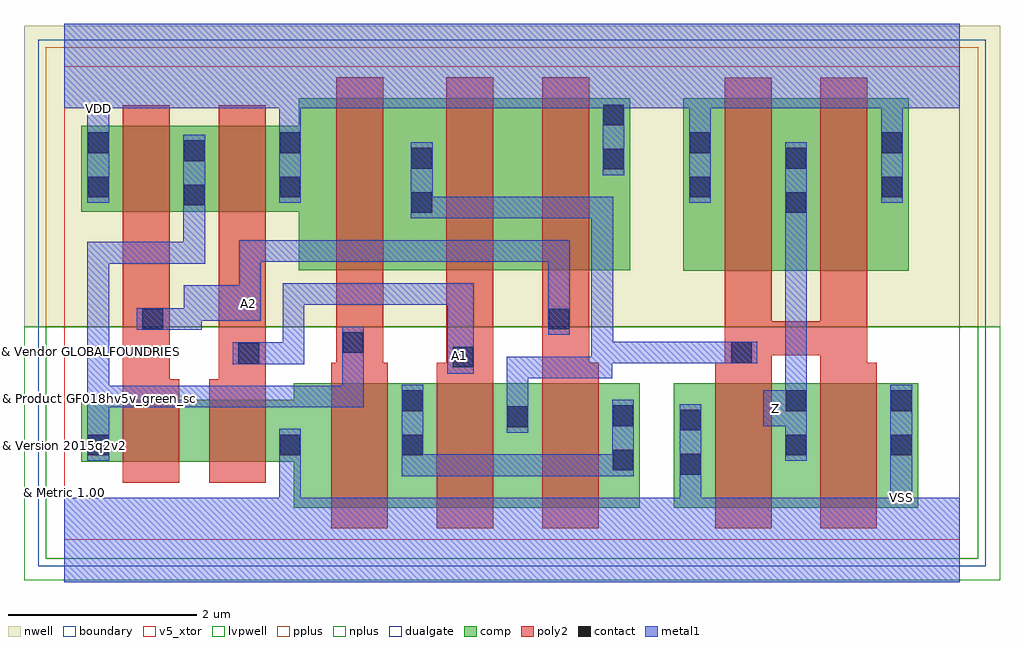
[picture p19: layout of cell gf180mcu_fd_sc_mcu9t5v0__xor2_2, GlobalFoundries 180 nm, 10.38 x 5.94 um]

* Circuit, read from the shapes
.subckt gf180mcu_fd_sc_mcu9t5v0__xor2_2 A1 A2 VDD VSS Z
XM1 n1 A2 n2 VSUBS nfet_05v0 w=0.66u l=0.6u
XM2 VSS A1 n1 VSUBS nfet_05v0 w=0.66u l=0.6u
XM3 n3 n2 VSS VSUBS nfet_05v0 w=1.32u l=0.6u
XM4 n4 A1 n3 VSUBS nfet_05v0 w=1.32u l=0.6u
XM5 n3 A2 n4 VSUBS nfet_05v0 w=1.32u l=0.6u
XM6 Z n4 VSS VSUBS nfet_05v0 w=1.32u l=0.6u m=2
XM7 n2 A2 VDD n5 pfet_05v0 w=0.915u l=0.5u
XM8 VDD A1 n2 n5 pfet_05v0 w=0.915u l=0.5u
XM9 n4 n2 VDD n5 pfet_05v0 w=1.83u l=0.5u
XM10 n6 A1 n4 n5 pfet_05v0 w=1.83u l=0.5u
XM11 VDD A2 n6 n5 pfet_05v0 w=1.83u l=0.5u
XM12 Z n4 VDD n5 pfet_05v0 w=1.83u l=0.5u m=2
.ends

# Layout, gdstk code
import gdstk
lib = gdstk.Library(unit=1e-6, precision=1e-09)
def R(c, l, rs):  # rectangles x0, y0, x1, y1
    for r in rs: c.add(gdstk.rectangle(r[:2], r[2:], *l))
def P(c, l, *ps):  # polygons
    for p in ps: c.add(gdstk.Polygon(p, *l))
boundary = (0, 0)
nwell = (21, 0)
comp = (22, 0)
poly2 = (30, 0)
pplus = (31, 0)
nplus = (32, 0)
contact = (33, 0)
metal1 = (34, 0)
dualgate = (55, 0)
v5_xtor = (112, 1)
lvpwell = (204, 0)

gf180mcu_fd_sc_mcu9t5v0_ = lib.new_cell('gf180mcu_fd_sc_mcu9t5v0__xor2_2')
R(gf180mcu_fd_sc_mcu9t5v0_, boundary, [(0,0,9.52,5.04)])
R(gf180mcu_fd_sc_mcu9t5v0_, nwell, [(-0.43,2.265,9.95,5.47)])
R(gf180mcu_fd_sc_mcu9t5v0_, comp, [(6.48,0.345,9.08,1.665), (6.58,2.865,8.98,4.695)])
P(gf180mcu_fd_sc_mcu9t5v0_, comp, [(2.49,2.87),(2.49,3.49),(0.18,3.49),(0.18,4.405),(2.49,4.405),(2.49,4.7),(6.02,4.7),(6.02,2.87)],
  [(2.44,0.345),(2.44,0.83),(0.18,0.83),(0.18,1.49),(2.44,1.49),(2.44,1.665),(6.12,1.665),(6.12,0.345)])
P(gf180mcu_fd_sc_mcu9t5v0_, poly2, [(0.62,0.61),(0.62,4.625),(1.12,4.625),(1.12,1.71),(1.22,1.71),(1.22,0.61)],
  [(1.54,0.61),(1.54,1.71),(1.64,1.71),(1.64,4.625),(2.14,4.625),(2.14,0.61)],
  [(2.84,0.125),(2.84,1.885),(2.89,1.885),(2.89,4.92),(3.39,4.92),(3.39,1.885),(3.44,1.885),(3.44,0.125)],
  [(3.96,0.125),(3.96,1.885),(4.06,1.885),(4.06,4.92),(4.56,4.92),(4.56,0.125)],
  [(5.08,0.125),(5.08,4.92),(5.58,4.92),(5.58,1.885),(5.68,1.885),(5.68,0.125)],
  [(6.92,0.125),(6.92,1.885),(7.02,1.885),(7.02,4.915),(7.52,4.915),(7.52,2.325),(8.04,2.325),(8.04,4.915),(8.54,4.915),(8.54,1.885),(8.64,1.885),(8.64,0.125),(8.04,0.125),(8.04,1.965),(7.52,1.965),(7.52,0.125)])
R(gf180mcu_fd_sc_mcu9t5v0_, pplus, [(-0.2,2.265,9.72,5.24)])
R(gf180mcu_fd_sc_mcu9t5v0_, nplus, [(-0.2,-0.2,9.72,2.265)])
R(gf180mcu_fd_sc_mcu9t5v0_, contact, [(6.55,0.695,6.77,0.915), (5.83,0.74,6.05,0.96), (0.25,0.9,0.47,1.12), (2.29,0.9,2.51,1.12), (3.59,0.9,3.81,1.12), (7.67,0.9,7.89,1.12), (8.79,0.9,9.01,1.12), (6.55,1.165,6.77,1.385), (4.71,1.2,4.93,1.42), (5.83,1.21,6.05,1.43), (3.59,1.37,3.81,1.59), (7.67,1.37,7.89,1.59), (8.79,1.37,9.01,1.59), (4.13,1.835,4.35,2.055), (1.85,1.875,2.07,2.095), (7.09,1.885,7.31,2.105), (2.96,1.99,3.18,2.21), (0.83,2.24,1.05,2.46), (5.15,2.24,5.37,2.46), (3.69,3.48,3.91,3.7), (7.67,3.48,7.89,3.7), (1.27,3.56,1.49,3.78), (0.25,3.645,0.47,3.865), (2.29,3.645,2.51,3.865), (6.65,3.645,6.87,3.865), (8.69,3.645,8.91,3.865), (5.73,3.94,5.95,4.16), (3.69,3.95,3.91,4.17), (7.67,3.95,7.89,4.17), (1.27,4.03,1.49,4.25), (0.25,4.115,0.47,4.335), (2.29,4.115,2.51,4.335), (6.65,4.115,6.87,4.335), (8.69,4.115,8.91,4.335), (5.73,4.41,5.95,4.63)])
P(gf180mcu_fd_sc_mcu9t5v0_, metal1, [(0.245,0.84),(0.245,3.17),(1.265,3.17),(1.265,4.31),(1.495,4.31),(1.495,2.94),(0.475,2.94),(0.475,1.64),(2.955,1.64),(2.955,2.27),(3.185,2.27),(3.185,1.41),(0.475,1.41),(0.475,0.84)],
  [(4.07,1.77),(4.07,2.5),(2.55,2.5),(2.55,1.87),(1.79,1.87),(1.79,2.1),(2.32,2.1),(2.32,2.73),(4.355,2.73),(4.355,1.77)],
  [(5.145,2.18),(5.145,2.96),(2.09,2.96),(2.09,2.33),(1.46,2.33),(1.46,2.235),(0.77,2.235),(0.77,2.465),(1.27,2.465),(1.27,2.71),(1.86,2.71),(1.86,3.19),(5.375,3.19),(5.375,2.18)],
  [(3.585,0.68),(3.585,1.65),(3.815,1.65),(3.815,0.91),(5.825,0.91),(5.825,1.49),(6.055,1.49),(6.055,0.68)],
  [(4.705,1.14),(4.705,1.95),(5.605,1.95),(5.605,3.42),(3.685,3.42),(3.685,4.23),(3.915,4.23),(3.915,3.65),(5.835,3.65),(5.835,2.11),(7.37,2.11),(7.37,1.88),(5.825,1.88),(5.825,1.72),(4.935,1.72),(4.935,1.14)],
  [(7.665,0.84),(7.665,1.21),(7.43,1.21),(7.43,1.59),(7.665,1.59),(7.665,4.23),(7.895,4.23),(7.895,0.84)],
  [(0,-0.45),(0,0.45),(2.285,0.45),(2.285,1.18),(2.515,1.18),(2.515,0.45),(6.545,0.45),(6.545,1.445),(6.775,1.445),(6.775,0.45),(8.785,0.45),(8.785,1.65),(9.015,1.65),(9.015,0.45),(9.52,0.45),(9.52,-0.45)],
  [(0.245,3.585),(0.245,4.59),(0,4.59),(0,5.49),(9.52,5.49),(9.52,4.59),(8.915,4.59),(8.915,3.585),(8.685,3.585),(8.685,4.59),(6.875,4.59),(6.875,3.585),(6.645,3.585),(6.645,4.59),(5.955,4.59),(5.955,3.88),(5.725,3.88),(5.725,4.59),(2.515,4.59),(2.515,3.585),(2.285,3.585),(2.285,4.59),(0.475,4.59),(0.475,3.585)])
R(gf180mcu_fd_sc_mcu9t5v0_, dualgate, [(-0.28,-0.28,9.8,5.32)])
R(gf180mcu_fd_sc_mcu9t5v0_, v5_xtor, [(0,0,9.52,5.04)])
R(gf180mcu_fd_sc_mcu9t5v0_, lvpwell, [(-0.43,-0.43,9.95,2.265)])
gf180mcu_fd_sc_mcu9t5v0_.add(gdstk.Label('A1', (4.2,1.96), layer=34, texttype=10))
gf180mcu_fd_sc_mcu9t5v0_.add(gdstk.Label('A2', (1.96,2.52), layer=34, texttype=10))
gf180mcu_fd_sc_mcu9t5v0_.add(gdstk.Label('VDD', (0.36,4.59), layer=34, texttype=10))
gf180mcu_fd_sc_mcu9t5v0_.add(gdstk.Label('VSS', (8.9,0.45), layer=34, texttype=10))
gf180mcu_fd_sc_mcu9t5v0_.add(gdstk.Label('Z', (7.56,1.4), layer=34, texttype=10))
gf180mcu_fd_sc_mcu9t5v0_.add(gdstk.Label('& Vendor GLOBALFOUNDRIES', (0,2), layer=63, texttype=63))
gf180mcu_fd_sc_mcu9t5v0_.add(gdstk.Label('& Product GF018hv5v_green_sc9', (0,1.5), layer=63, texttype=63))
gf180mcu_fd_sc_mcu9t5v0_.add(gdstk.Label('& Version 2015q2v2', (0,1), layer=63, texttype=63))
gf180mcu_fd_sc_mcu9t5v0_.add(gdstk.Label('& Metric 1.00', (0,0.5), layer=63, texttype=63))

lib.write_gds('gf180mcu_fd_sc_mcu9t5v0__xor2_2.gds')
